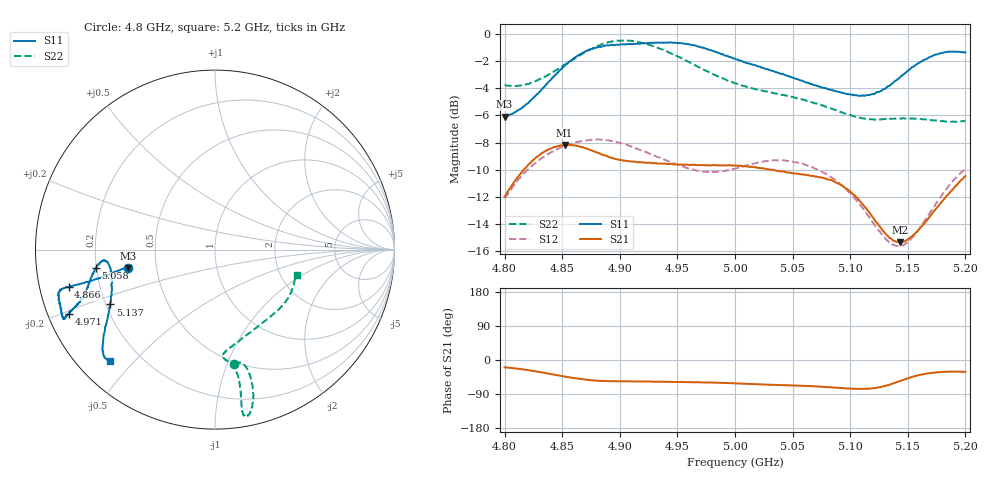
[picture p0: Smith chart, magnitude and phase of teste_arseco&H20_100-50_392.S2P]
! Network Analyzer HP8722D
! Hewlett-Packard
! Data name: Linha & Wilkinson
! Saver's name: Rodrigo Anjos
! Comments: Teste da utilização de aquisição
! continua pelo VNA HP8722D
! Time and date: 6/5/2025 15:50
!  Frequency  S11  S21  S12  S22
# HZ  S  MA R 50
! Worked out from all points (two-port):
!   401 points, 4.8 GHz to 5.2 GHz, reference 50 ohm
!   highest |S21| = -8.17 dB at 4.852 GHz (marker M1); lowest = -15.3 dB at 5.143 GHz (marker M2)
!   |S21| within 3 dB of the highest: 4.806 GHz to 5.093 GHz (286.7 MHz wide, 5.79 % of centre); 5.192029 GHz to end of sweep
!   lowest |S11| = -6.1 dB at 4.8 GHz (marker M3), VSWR 2.97, Z = 17 - j4.62 ohm
!   |S11| at or under -10 dB: nowhere
!   |S22| runs from -6.5 to -0.5 dB; largest |S21 - S12| = 0.62
!   S11 on the Smith chart (normalised r, x): 4.8 GHz: 0.34, -0.09; 4.866 GHz: 0.09, -0.12; 4.971 GHz: 0.06, -0.21; 5.058 GHz: 0.20, -0.07; 5.137 GHz: 0.22, -0.23; 5.2 GHz: 0.09, -0.43
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4.8e9  0.4961 -168.1  0.2514 -19.5  0.248 -140.6  0.6478 -80.4
4.823e9  0.5701 -167.4  0.3374 -27.9  0.3245 -143.6  0.6602 -76.0
4.852e9  0.7621 -165.8  0.3905 -43.6  0.3865 -149.2  0.7688 -74.5
4.866e9  0.8419 -165.7  0.384 -50.2  0.4026 -151.6  0.8371 -75.2
4.867e9  0.8481 -165.7  0.3837 -50.6  0.4032 -151.8  0.8429 -75.3
4.898e9  0.9118 -162.8  0.3448 -56.1  0.3984 -156.2  0.9422 -78.8
4.914e9  0.9187 -159.5  0.3377 -56.3  0.3782 -156.9  0.9376 -80.2
4.934e9  0.9288 -156.2  0.333 -57.3  0.3516 -155.5  0.8842 -80.4
4.971e9  0.8892 -156.3  0.3291 -59.2  0.312 -146.4  0.7472 -79.5
5e9  0.8098 -159.0  0.3278 -61.7  0.3197 -137.2  0.6573 -81.2
5.035e9  0.7239 -165.2  0.3147 -65.6  0.3431 -134.1  0.6037 -85.6
5.058e9  0.6728 -171.1  0.3047 -68.0  0.3331 -136.0  0.5739 -84.4
5.067e9  0.6518 -172.8  0.3006 -68.9  0.3235 -136.6  0.5597 -82.6
5.085e9  0.6193 -174.4  0.2875 -72.4  0.2939 -138.2  0.5288 -75.7
5.103e9  0.595 -171.4  0.2558 -76.0  0.251 -138.6  0.4981 -65.3
5.116e9  0.5953 -165.5  0.222 -75.8  0.213 -135.5  0.4858 -55.8
5.134e9  0.6438 -154.2  0.1779 -65.3  0.171 -120.8  0.487 -43.3
5.137e9  0.6591 -152.4  0.174 -62.4  0.1681 -117.1  0.4872 -41.5
5.143e9  0.6892 -149.2  0.1711 -56.0  0.1657 -109.1  0.4889 -37.9
5.154e9  0.755 -144.3  0.1805 -44.5  0.1787 -95.1  0.4882 -32.2
5.174e9  0.8388 -138.4  0.2259 -32.6  0.2357 -80.3  0.4797 -23.9
5.2e9  0.8527 -133.5  0.2998 -31.2  0.3185 -76.7  0.4773 -17.5
